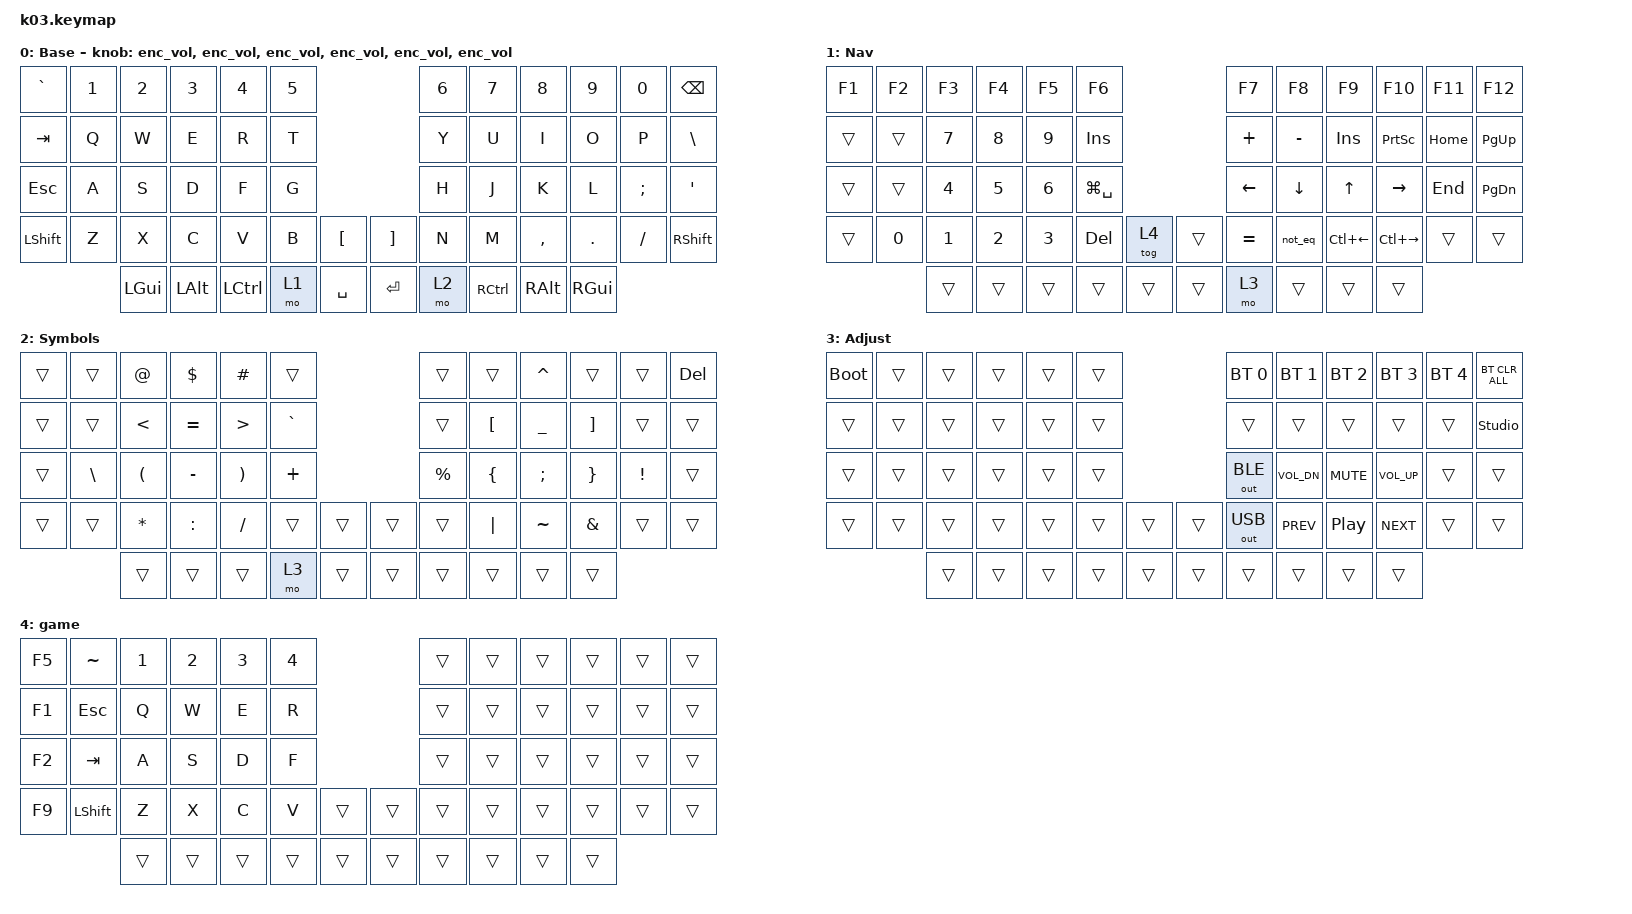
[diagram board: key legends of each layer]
#include "keys_ru.h"
#include <behaviors.dtsi>
#include <dt-bindings/zmk/bt.h>
#include <dt-bindings/zmk/keys.h>
#include <dt-bindings/zmk/outputs.h>

/ {
    behaviors {
        enc_vol: enc_vol {
            compatible = "zmk,behavior-sensor-rotate";
            label = "ENC_VOL";
            #sensor-binding-cells = <0>;
            bindings = <&kp C_VOL_UP>, <&kp C_VOL_DN>;
        };
    };

    macros {
        not_eq: new_macro {
            compatible = "zmk,behavior-macro";
            #binding-cells = <0>;
            bindings = <&kp EXCL &kp EQUAL>;
            label = "NEW_MACRO";
        };
    };

    keymap {
        compatible = "zmk,keymap";

        base {
            bindings = <
&kp GRAVE  &kp N1  &kp N2    &kp N3    &kp N4     &kp N5                          &kp N6  &kp N7     &kp N8     &kp N9    &kp N0    &kp BSPC
&kp TAB    &kp Q   &kp W     &kp E     &kp R      &kp T                           &kp Y   &kp U      &kp I      &kp O     &kp P     &kp BSLH
&kp ESC    &kp A   &kp S     &kp D     &kp F      &kp G                           &kp H   &kp J      &kp K      &kp L     &kp SEMI  &kp SQT
&kp LSHFT  &kp Z   &kp X     &kp C     &kp V      &kp B   &kp LBKT     &kp RBKT   &kp N   &kp M      &kp COMMA  &kp DOT   &kp FSLH  &kp RSHFT
                   &kp LGUI  &kp LALT  &kp LCTRL  &mo 1   &kp SPACE    &kp ENTER  &mo 2   &kp RCTRL  &kp RALT   &kp RGUI
            >;

            display-name = "Base";
            sensor-bindings =
                <&enc_vol>,
                <&enc_vol>,
                <&enc_vol>,
                <&enc_vol>,
                <&enc_vol>,
                <&enc_vol>;
        };

        nav {
            bindings = <
&kp F1  &kp F2  &kp F3  &kp F4  &kp F5  &kp F6                           &kp F7          &kp F8          &kp F9              &kp F10              &kp F11   &kp F12
&trans  &trans  &kp N7  &kp N8  &kp N9  &kp INS                          &kp PLUS        &kp MINUS       &kp INS             &kp PRINTSCREEN      &kp HOME  &kp PAGE_UP
&trans  &trans  &kp N4  &kp N5  &kp N6  &kp LG(SPACE)                    &kp LEFT_ARROW  &kp DOWN_ARROW  &kp UP              &kp RIGHT            &kp END   &kp PAGE_DOWN
&trans  &kp N0  &kp N1  &kp N2  &kp N3  &kp DEL        &tog 4    &trans  &kp EQUAL       &not_eq         &kp LC(LEFT_ARROW)  &kp LC(RIGHT_ARROW)  &trans    &trans
                &trans  &trans  &trans  &trans         &trans    &trans  &mo 3           &trans          &trans              &trans
            >;

            display-name = "Nav";
        };

        sym {
            bindings = <
&trans  &trans    &kp AT    &kp DLLR   &kp HASH  &trans                       &trans     &trans    &kp CARET  &trans    &trans    &kp DEL
&trans  &trans    &kp LT    &kp EQUAL  &kp GT    &kp GRAVE                    &trans     &kp LBKT  &kp UNDER  &kp RBKT  &trans    &trans
&trans  &kp BSLH  &kp LPAR  &kp MINUS  &kp RPAR  &kp PLUS                     &kp PRCNT  &kp LBRC  &kp SEMI   &kp RBRC  &kp EXCL  &trans
&trans  &trans    &kp STAR  &kp COLON  &kp FSLH  &trans     &trans    &trans  &trans     &kp PIPE  &kp TILDE  &kp AMPS  &trans    &trans
                  &trans    &trans     &trans    &mo 3      &trans    &trans  &trans     &trans    &trans     &trans
            >;

            display-name = "Symbols";
        };

        adj {
            bindings = <
&bootloader  &trans  &trans  &trans  &trans  &trans                    &bt BT_SEL 0  &bt BT_SEL 1  &bt BT_SEL 2      &bt BT_SEL 3  &bt BT_SEL 4  &bt BT_CLR_ALL
&trans       &trans  &trans  &trans  &trans  &trans                    &trans        &trans        &trans            &trans        &trans        &studio_unlock
&trans       &trans  &trans  &trans  &trans  &trans                    &out OUT_BLE  &kp C_VOL_DN  &kp C_MUTE        &kp C_VOL_UP  &trans        &trans
&trans       &trans  &trans  &trans  &trans  &trans  &trans    &trans  &out OUT_USB  &kp C_PREV    &kp C_PLAY_PAUSE  &kp C_NEXT    &trans        &trans
                     &trans  &trans  &trans  &trans  &trans    &trans  &trans        &trans        &trans            &trans
            >;

            display-name = "Adjust";
        };

        game {
            bindings = <
&kp F5  &kp TILDE   &kp NUMBER_1  &kp NUMBER_2  &kp NUMBER_3  &kp NUMBER_4                    &trans  &trans  &trans  &trans  &trans  &trans
&kp F1  &kp ESC     &kp Q         &kp W         &kp E         &kp R                           &trans  &trans  &trans  &trans  &trans  &trans
&kp F2  &kp TAB     &kp A         &kp S         &kp D         &kp F                           &trans  &trans  &trans  &trans  &trans  &trans
&kp F9  &kp LSHIFT  &kp Z         &kp X         &kp C         &kp V         &trans    &trans  &trans  &trans  &trans  &trans  &trans  &trans
                    &trans        &trans        &trans        &trans        &trans    &trans  &trans  &trans  &trans  &trans
            >;
        };
    };
};
